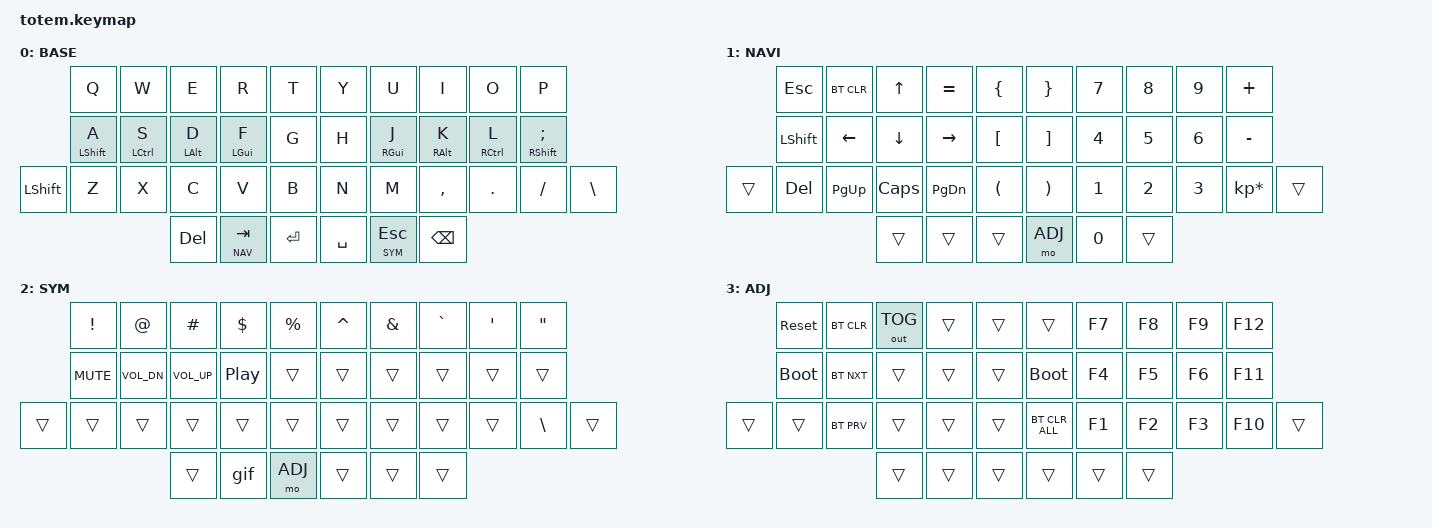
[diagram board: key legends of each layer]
//
//                                                        ▀▀▀▀▀     ▀▀▀▀▀          ▀▀█▀▀
//                                                        ▄▀▀▀▄  ▄  ▄▀▀▀▄  ▄  ▄▀▀▀▄  █  ▄▀▀▀▄
//                                                        █   █  █  █   █  █  █   █  █  █   █
//                                                         ▀▀▀   █   ▀▀▀   █   ▀▀▀   ▀   ▀▀▀
//                                                               █      ▄▄▄█▄▄▄    █   █  
//                                                               ▀      █  █  █     █▄█
//                                                             ▀▀▀▀▀    █  █  █      ▀
//                                                                      ▀  ▀  ▀
//
// ▄▄▄▄▄▄▄▄▄▄▄▄▄▄▄▄▄▄▄▄▄▄▄▄▄▄▄▄▄▄▄▄▄▄▄▄▄▄▄▄▄▄▄▄▄▄▄▄▄▄▄▄▄▄▄▄▄▄▄▄▄▄▄▄▄▄▄▄▄▄▄▄▄▄▄▄▄▄▄▄▄▄▄▄▄▄▄▄▄▄▄▄▄▄▄▄▄▄▄▄▄▄▄▄▄▄▄▄▄▄▄▄▄▄▄▄▄▄▄▄▄▄▄▄▄▄▄▄▄▄▄▄▄▄▄▄▄▄▄▄▄▄▄▄▄▄▄▄▄
       

#include <behaviors.dtsi>
#include <dt-bindings/zmk/keys.h>
#include <dt-bindings/zmk/bt.h>
#include <dt-bindings/zmk/outputs.h>

#define BASE 0
#define NAV  1
#define SYM  2
#define ADJ  3
#define TVP1 4
#define TVP2 5

&mt {
  quick-tap-ms = <100>;
  global-quick-tap;
  flavor = "tap-preferred";
  tapping-term-ms = <170>;
};

/ {
    //  combos {
    //         compatible = "zmk,combos";
    //         combo_esc {
    //             timeout-ms = <50>;
    //             key-positions = <0 1>;
    //             bindings = <&kp ESC>;
    //         };
    //         combo_tvp {
    //             timeout-ms = <100>;
    //             key-positions = <11 12 13>;
    //             bindings = <&tog TVP1>;
    //         };
    // };

    macros {
        gif: gif {
            label = "giphy";
            compatible = "zmk,behavior-macro";
            #binding-cells = <0>;
            bindings
                = <&macro_press &kp LSHFT>
                , <&macro_tap &kp N2>
                , <&macro_release &kp LSHFT>
                , <&macro_tap &kp G &kp I &kp F>
                ;
        };
    };

        keymap {
                compatible = "zmk,keymap";
// ▄▄▄▄▄▄▄▄▄▄▄▄▄▄▄▄▄▄▄▄▄▄▄▄▄▄▄▄▄▄▄▄▄▄▄▄▄▄▄▄▄▄▄▄▄▄▄▄▄▄▄▄▄▄▄▄▄▄▄▄▄▄▄▄▄▄▄▄▄▄▄▄▄▄▄▄▄▄▄▄▄▄▄▄▄▄▄▄▄▄▄▄▄▄▄▄▄▄▄▄▄▄▄▄▄▄▄▄▄▄▄▄▄▄▄▄▄▄▄▄▄▄▄▄▄▄▄▄▄▄▄▄▄▄▄▄▄▄▄▄▄▄▄▄▄▄▄▄▄

                base_layer {
// ┏━━━━━━━━━━━━━━━━━━━━━━━━━━━━━━━━━━━━━━━┓
label= "BASE"                              ;
// ┗━━━━━━━━━━━━━━━━━━━━━━━━━━━━━━━━━━━━━━━┛
//             ┏━━━━━━━━━━━┳━━━━━━━━━━━┳━━━━━━━━━━━┳━━━━━━━━━━━┳━━━━━━━━━━━┓   ┏━━━━━━━━━━━┳━━━━━━━━━━━┳━━━━━━━━━━━┳━━━━━━━━━━━┳━━━━━━━━━━━┓
//             ┃     Q     ┃     W     ┃     E     ┃     R     ┃     T     ┃   ┃     Y     ┃     U     ┃     I     ┃     O     ┃     P     ┃
//             ┣━━━━━━━━━━━╋━━━━━━━━━━━╋━━━━━━━━━━━╋━━━━━━━━━━━╋━━━━━━━━━━━┫   ┣━━━━━━━━━━━╋━━━━━━━━━━━╋━━━━━━━━━━━╋━━━━━━━━━━━╋━━━━━━━━━━━┫
//             ┃     A     ┃     S     ┃     D     ┃     F     ┃     G     ┃   ┃     H     ┃     J     ┃     K     ┃     L     ┃     ;     ┃
// ┏━━━━━━━━━━━╋━━━━━━━━━━━╋━━━━━━━━━━━╋━━━━━━━━━━━╋━━━━━━━━━━━╋━━━━━━━━━━━┫   ┣━━━━━━━━━━━╋━━━━━━━━━━━╋━━━━━━━━━━━╋━━━━━━━━━━━╋━━━━━━━━━━━╋━━━━━━━━━━━┓
// ┃   SHIFT   ┃     Z     ┃     X     ┃     C     ┃     V     ┃     B     ┃   ┃     N     ┃     M     ┃     ,     ┃     .     ┃     /     ┃     \     ┃
// ┗━━━━━━━━━━━┻━━━━━━━━━━━┻━━━━━━━━━━━╋━━━━━━━━━━━╋━━━━━━━━━━━╋━━━━━━━━━━━┫   ┣━━━━━━━━━━━╋━━━━━━━━━━━╋━━━━━━━━━━━╋━━━━━━━━━━━┻━━━━━━━━━━━┻━━━━━━━━━━━┛
//                                     ┃    DEL    ┃    TAB    ┃    RET    ┃   ┃    SPC    ┃    ESC    ┃   BSPC    ┃
//                                     ┗━━━━━━━━━━━┻━━━━━━━━━━━┻━━━━━━━━━━━┛   ┗━━━━━━━━━━━┻━━━━━━━━━━━┻━━━━━━━━━━━┛
 bindings = <
// ╷           ╷           ╷           ╷           ╷           ╷           ╷   ╷           ╷           ╷           ╷           ╷           ╷           ╷

                &kp Q       &kp W       &kp E       &kp R       &kp T           &kp Y       &kp U       &kp I       &kp O       &kp P
                &mt LSHFT A &mt LCTRL S &mt LALT D  &mt LGUI F  &kp G           &kp H       &mt RGUI J  &mt RALT K  &mt RCTRL L &mt RSHFT SEMI
    &kp LSHFT   &kp Z       &kp X       &kp C       &kp V       &kp B           &kp N       &kp M       &kp COMMA   &kp DOT     &kp FSLH    &kp BSLH
                                        &kp DEL   &lt NAV TAB   &kp RET         &kp SPACE   &lt SYM ESC &kp BSPC
                        >;
                };

// ▄▄▄▄▄▄▄▄▄▄▄▄▄▄▄▄▄▄▄▄▄▄▄▄▄▄▄▄▄▄▄▄▄▄▄▄▄▄▄▄▄▄▄▄▄▄▄▄▄▄▄▄▄▄▄▄▄▄▄▄▄▄▄▄▄▄▄▄▄▄▄▄▄▄▄▄▄▄▄▄▄▄▄▄▄▄▄▄▄▄▄▄▄▄▄▄▄▄▄▄▄▄▄▄▄▄▄▄▄▄▄▄▄▄▄▄▄▄▄▄▄▄▄▄▄▄▄▄▄▄▄▄▄▄▄▄▄▄▄▄▄▄▄▄▄▄▄▄▄


                nav_layer {
// ┏━━━━━━━━━━━━━━━━━━━━━━━━━━━━━━━━━━━━━━━┓
label= "NAVI"                              ;
// ┗━━━━━━━━━━━━━━━━━━━━━━━━━━━━━━━━━━━━━━━┛
//             ┏━━━━━━━━━━━┳━━━━━━━━━━━┳━━━━━━━━━━━┳━━━━━━━━━━━┳━━━━━━━━━━━┓   ┏━━━━━━━━━━━┳━━━━━━━━━━━┳━━━━━━━━━━━┳━━━━━━━━━━━┳━━━━━━━━━━━┓
//             ┃           ┃           ┃     UP    ┃           ┃     {     ┃   ┃     }     ┃     7     ┃     8     ┃     9     ┃     +     ┃
//             ┣━━━━━━━━━━━╋━━━━━━━━━━━╋━━━━━━━━━━━╋━━━━━━━━━━━╋━━━━━━━━━━━┫   ┣━━━━━━━━━━━╋━━━━━━━━━━━╋━━━━━━━━━━━╋━━━━━━━━━━━╋━━━━━━━━━━━┫
//             ┃   SHIFT   ┃   LEFT    ┃    DOWN   ┃   RIGHT   ┃     [     ┃   ┃     ]     ┃     4     ┃     5     ┃     6     ┃     -     ┃
// ┏━━━━━━━━━━━╋━━━━━━━━━━━╋━━━━━━━━━━━╋━━━━━━━━━━━╋━━━━━━━━━━━╋━━━━━━━━━━━┫   ┣━━━━━━━━━━━╋━━━━━━━━━━━╋━━━━━━━━━━━╋━━━━━━━━━━━╋━━━━━━━━━━━╋━━━━━━━━━━━┓
// ┃           ┃           ┃   P UP    ┃  C LOCK   ┃  P DOWN   ┃     (     ┃   ┃     )     ┃     1     ┃     2     ┃     3     ┃     *     ┃           ┃
// ┗━━━━━━━━━━━┻━━━━━━━━━━━┻━━━━━━━━━━━╋━━━━━━━━━━━╋━━━━━━━━━━━╋━━━━━━━━━━━┫   ┣━━━━━━━━━━━╋━━━━━━━━━━━╋━━━━━━━━━━━╋━━━━━━━━━━━┻━━━━━━━━━━━┻━━━━━━━━━━━┛
//                                     ┃           ┃    TAB    ┃    SPC    ┃   ┃    DEL    ┃     0     ┃           ┃
//                                     ┗━━━━━━━━━━━┻━━━━━━━━━━━┻━━━━━━━━━━━┛   ┗━━━━━━━━━━━┻━━━━━━━━━━━┻━━━━━━━━━━━┛
 bindings = <
// ╷           ╷           ╷           ╷           ╷           ╷           ╷   ╷           ╷           ╷           ╷           ╷           ╷           ╷

                &kp ESC     &bt BT_CLR  &kp UP      &kp EQUAL   &kp LBRC        &kp RBRC    &kp N7     &kp N8      &kp N9      &kp PLUS
                &kp LSHFT   &kp LEFT    &kp DOWN    &kp RIGHT   &kp LBKT        &kp RBKT    &kp N4     &kp N5      &kp N6      &kp MINUS
    &trans      &kp DEL     &kp PG_UP   &kp CAPS    &kp PG_DN   &kp LPAR        &kp RPAR    &kp N1     &kp N2      &kp N3      &kp KP_MULTIPLY &trans      
                                        &trans      &trans      &trans          &mo ADJ     &kp N0     &trans      
                        >;
                };

// ▄▄▄▄▄▄▄▄▄▄▄▄▄▄▄▄▄▄▄▄▄▄▄▄▄▄▄▄▄▄▄▄▄▄▄▄▄▄▄▄▄▄▄▄▄▄▄▄▄▄▄▄▄▄▄▄▄▄▄▄▄▄▄▄▄▄▄▄▄▄▄▄▄▄▄▄▄▄▄▄▄▄▄▄▄▄▄▄▄▄▄▄▄▄▄▄▄▄▄▄▄▄▄▄▄▄▄▄▄▄▄▄▄▄▄▄▄▄▄▄▄▄▄▄▄▄▄▄▄▄▄▄▄▄▄▄▄▄▄▄▄▄▄▄▄▄▄▄▄


                sim_layer {
// ┏━━━━━━━━━━━━━━━━━━━━━━━━━━━━━━━━━━━━━━━┓
label= "SYM"                               ;
// ┗━━━━━━━━━━━━━━━━━━━━━━━━━━━━━━━━━━━━━━━┛
//             ┏━━━━━━━━━━━┳━━━━━━━━━━━┳━━━━━━━━━━━┳━━━━━━━━━━━┳━━━━━━━━━━━┓   ┏━━━━━━━━━━━┳━━━━━━━━━━━┳━━━━━━━━━━━┳━━━━━━━━━━━┳━━━━━━━━━━━┓
//             ┃     !     ┃     @     ┃     #     ┃     $     ┃     %     ┃   ┃     ˆ     ┃     &     ┃     `     ┃     '     ┃     "     ┃
//             ┣━━━━━━━━━━━╋━━━━━━━━━━━╋━━━━━━━━━━━╋━━━━━━━━━━━╋━━━━━━━━━━━┫   ┣━━━━━━━━━━━╋━━━━━━━━━━━╋━━━━━━━━━━━╋━━━━━━━━━━━╋━━━━━━━━━━━┫
//             ┃           ┃           ┃           ┃           ┃           ┃   ┃           ┃           ┃           ┃           ┃           ┃
// ┏━━━━━━━━━━━╋━━━━━━━━━━━╋━━━━━━━━━━━╋━━━━━━━━━━━╋━━━━━━━━━━━╋━━━━━━━━━━━┫   ┣━━━━━━━━━━━╋━━━━━━━━━━━╋━━━━━━━━━━━╋━━━━━━━━━━━╋━━━━━━━━━━━╋━━━━━━━━━━━┓
// ┃           ┃   MUTE    ┃   VOL+    ┃   VOL-    ┃  PL/PAUS  ┃           ┃   ┃           ┃           ┃           ┃           ┃     \     ┃           ┃
// ┗━━━━━━━━━━━┻━━━━━━━━━━━┻━━━━━━━━━━━╋━━━━━━━━━━━╋━━━━━━━━━━━╋━━━━━━━━━━━┫   ┣━━━━━━━━━━━╋━━━━━━━━━━━╋━━━━━━━━━━━╋━━━━━━━━━━━┻━━━━━━━━━━━┻━━━━━━━━━━━┛
//                                     ┃           ┃    GIF    ┃    ADJ    ┃   ┃           ┃           ┃           ┃
//                                     ┗━━━━━━━━━━━┻━━━━━━━━━━━┻━━━━━━━━━━━┛   ┗━━━━━━━━━━━┻━━━━━━━━━━━┻━━━━━━━━━━━┛
 bindings = <
// ╷           ╷           ╷           ╷           ╷           ╷           ╷   ╷           ╷           ╷           ╷           ╷           ╷           ╷

                &kp EXCL    &kp AT       &kp HASH     &kp DLLR    &kp PRCNT       &kp CARET   &kp AMPS    &kp GRAVE  &kp SQT     &kp DQT       
                &kp C_MUTE  &kp C_VOL_DN &kp C_VOL_UP &kp C_PP    &trans          &trans      &trans      &trans     &trans      &trans    
    &trans      &trans      &trans       &trans       &trans      &trans          &trans      &trans      &trans     &trans      &kp BSLH   &trans         
                                         &trans       &gif        &mo ADJ         &trans      &trans      &trans      
                        >;
                };

// ▄▄▄▄▄▄▄▄▄▄▄▄▄▄▄▄▄▄▄▄▄▄▄▄▄▄▄▄▄▄▄▄▄▄▄▄▄▄▄▄▄▄▄▄▄▄▄▄▄▄▄▄▄▄▄▄▄▄▄▄▄▄▄▄▄▄▄▄▄▄▄▄▄▄▄▄▄▄▄▄▄▄▄▄▄▄▄▄▄▄▄▄▄▄▄▄▄▄▄▄▄▄▄▄▄▄▄▄▄▄▄▄▄▄▄▄▄▄▄▄▄▄▄▄▄▄▄▄▄▄▄▄▄▄▄▄▄▄▄▄▄▄▄▄▄▄▄▄▄


                adjust_layer {
// ┏━━━━━━━━━━━━━━━━━━━━━━━━━━━━━━━━━━━━━━━┓
label= "ADJ"                               ;
// ┗━━━━━━━━━━━━━━━━━━━━━━━━━━━━━━━━━━━━━━━┛
//             ┏━━━━━━━━━━━┳━━━━━━━━━━━┳━━━━━━━━━━━┳━━━━━━━━━━━┳━━━━━━━━━━━┓   ┏━━━━━━━━━━━┳━━━━━━━━━━━┳━━━━━━━━━━━┳━━━━━━━━━━━┳━━━━━━━━━━━┓
//             ┃   RESET   ┃ BT CLEAR  ┃  OUT TOG  ┃           ┃           ┃   ┃           ┃    F7     ┃    F8     ┃    F9     ┃    F12    ┃
//             ┣━━━━━━━━━━━╋━━━━━━━━━━━╋━━━━━━━━━━━╋━━━━━━━━━━━╋━━━━━━━━━━━┫   ┣━━━━━━━━━━━╋━━━━━━━━━━━╋━━━━━━━━━━━╋━━━━━━━━━━━╋━━━━━━━━━━━┫
//             ┃ BOOTLOAD  ┃ BT NEXT   ┃           ┃           ┃           ┃   ┃ BOOTLOAD  ┃    F4     ┃    F5     ┃    F6     ┃    F11    ┃
// ┏━━━━━━━━━━━╋━━━━━━━━━━━╋━━━━━━━━━━━╋━━━━━━━━━━━╋━━━━━━━━━━━╋━━━━━━━━━━━┫   ┣━━━━━━━━━━━╋━━━━━━━━━━━╋━━━━━━━━━━━╋━━━━━━━━━━━╋━━━━━━━━━━━╋━━━━━━━━━━━┓
// ┃           ┃           ┃ BT PREV   ┃           ┃           ┃           ┃   ┃           ┃    F1     ┃    F2     ┃    F3     ┃    F10    ┃           ┃
// ┗━━━━━━━━━━━┻━━━━━━━━━━━┻━━━━━━━━━━━╋━━━━━━━━━━━╋━━━━━━━━━━━╋━━━━━━━━━━━┫   ┣━━━━━━━━━━━╋━━━━━━━━━━━╋━━━━━━━━━━━╋━━━━━━━━━━━┻━━━━━━━━━━━┻━━━━━━━━━━━┛
//                                     ┃           ┃           ┃           ┃   ┃           ┃           ┃           ┃
//                                     ┗━━━━━━━━━━━┻━━━━━━━━━━━┻━━━━━━━━━━━┛   ┗━━━━━━━━━━━┻━━━━━━━━━━━┻━━━━━━━━━━━┛
 bindings = <
// ╷           ╷           ╷           ╷           ╷           ╷           ╷   ╷           ╷           ╷           ╷           ╷           ╷           ╷

                &sys_reset  &bt BT_CLR &out OUT_TOG &trans      &trans          &trans          &kp F7      &kp F8      &kp F9      &kp F12
                &bootloader &bt BT_NXT  &trans      &trans      &trans          &bootloader     &kp F4      &kp F5      &kp F6      &kp F11  
    &trans      &trans      &bt BT_PRV  &trans      &trans      &trans          &bt BT_CLR_ALL &kp F1      &kp F2      &kp F3      &kp F10     &trans         
                                        &trans      &trans      &trans          &trans          &trans      &trans      
                        >;
                };
        };
};
